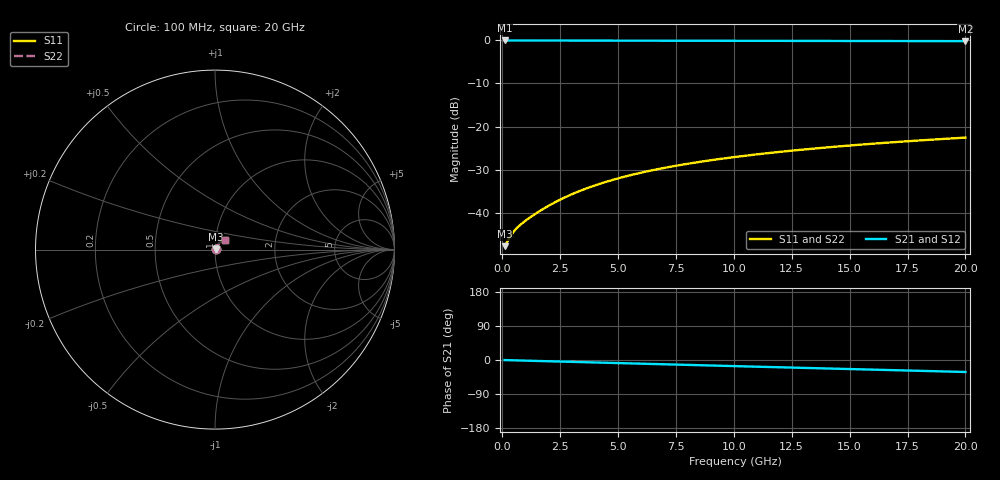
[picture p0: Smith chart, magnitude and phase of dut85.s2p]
! Touchstone file exported from HFSS 2026.1.0
!  File:  C:/ffzhzh/LocalFiles/Ansys_Project_Files/temp_train_TMRDL_85_1782881418_13352.aedt
!  Generated:  12:51:25 PM Jul  1, 2026
!  Design:  TMRDL
!  Project:  temp_train_TMRDL_85_1782881418_13352
! Variables:
!  h_bsmrdl = 2um
!  h_ox = 20um
!  h_rdl = 5um
!  h_sub = 80um
!  h_tmrdl = 3.77um
!  h_tsv = 80um
!  h_via = 3um
!  l_bsmrdl = 300um
!  l_sub = 968.36um
!  l_tmrdl = 568.36um
!  m_sub = 200um
!  pitch = 18.56um
!  r_tsv = 6um
!  s_tmrdl = 10um
!  w_bsmrdl = 18um
!  w_sub = 500um
!  w_tmrdl = 13.81um
!  x_tsv_center1 = 575.265um
!  x_tsv_center2 = 893.265um
!  x_tsv_center3 = 1475.435um
!  x_tsv_center4 = 1793.435um
!  x_tsv_center5 = 2375.605um
!  x_tsv_center6 = 2693.605um
# GHz S MA R 50.000000
! Terminal data exported
! Port[1] = TM_RDL1_1_T1
! Port[2] = TM_RDL1_1_T2
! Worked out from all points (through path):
!   200 points, 100 MHz to 20 GHz, reference 50 ohm
!   highest |S21| = -0.03 dB at 100 MHz (marker M1); lowest = -0.2 dB at 20 GHz (marker M2)
!   group delay of S21, straight-line fit = 4.37 ps
!   lowest |S11| = -47.7 dB at 100 MHz (marker M3), VSWR 1.01, Z = 50.4 + j0.0889 ohm
!   |S11| at or under -10 dB: start of sweep to end of sweep
!   |S22| runs from -47.7 to -22.6 dB; largest |S21 - S12| = 3.8e-15
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0.1  0.004105 12.4  0.996 -0.2  0.996 -0.2  0.004105 12.4
! Gamma 0 0 0 0
! Port Impedance 50 0 50 0
0.3  0.005088 27.6  0.9955 -0.5  0.9955 -0.5  0.005088 27.5
0.4  0.005615 31.4  0.9952 -0.7  0.9952 -0.7  0.005613 31.3
0.5  0.006098 34.2  0.995 -0.9  0.995 -0.9  0.006093 34.1
0.7  0.006948 38.4  0.9946 -1.2  0.9946 -1.2  0.006938 38.3
0.9  0.007719 41.9  0.9944 -1.5  0.9944 -1.5  0.007707 41.9
1.1  0.008473 45.1  0.9942 -1.9  0.9942 -1.9  0.00846 45.1
1.6  0.01043 51.4  0.9939 -2.7  0.9939 -2.7  0.01041 51.4
2.2  0.01293 56.2  0.9935 -3.6  0.9935 -3.6  0.01291 56.3
2.8  0.01553 59.1  0.993 -4.6  0.993 -4.6  0.01552 59.1
3.5  0.0186 60.8  0.9925 -5.8  0.9925 -5.8  0.01859 60.9
4.2  0.02165 61.5  0.9918 -6.9  0.9918 -6.9  0.02165 61.6
5  0.02508 61.6  0.991 -8.2  0.991 -8.2  0.02507 61.6
5.9  0.02882 61.1  0.9901 -9.6  0.9901 -9.6  0.02881 61.2
6.8  0.03242 60.3  0.9891 -11.1  0.9891 -11.1  0.03241 60.4
8.3  0.03814 58.6  0.9875 -13.4  0.9875 -13.4  0.03813 58.7
10.1  0.04456 56.4  0.9857 -16.3  0.9857 -16.3  0.04455 56.5
11.7  0.04995 54.3  0.9842 -18.8  0.9842 -18.8  0.04993 54.5
13.4  0.0554 52.1  0.9827 -21.4  0.9827 -21.4  0.05537 52.3
15  0.0603 50.1  0.9814 -23.9  0.9814 -23.9  0.06027 50.3
16.7  0.06531 47.9  0.9801 -26.5  0.9801 -26.5  0.06527 48.1
20  0.07447 43.5  0.9777 -31.6  0.9777 -31.6  0.07441 43.8
